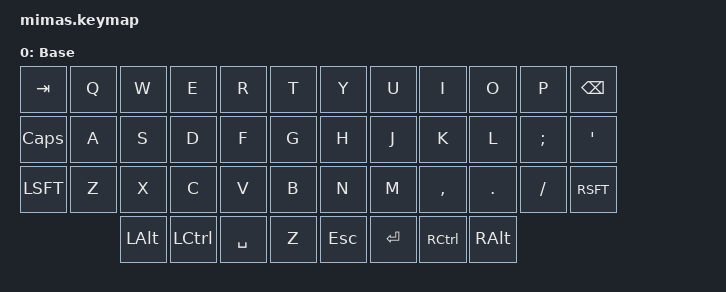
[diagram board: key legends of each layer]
#include <behaviors.dtsi>
#include <dt-bindings/zmk/keys.h>
#include <dt-bindings/zmk/bt.h>
#include <dt-bindings/zmk/outputs.h>

/ {
     
        keymap {
                compatible = "zmk,keymap";

                default_layer {
// ┏━━━━━━━━━━━━━━━━━━━━━━━━━━━━━━━━━━━━━━━┓
display-name = "Base"                      ;
// ┗━━━━━━━━━━━━━━━━━━━━━━━━━━━━━━━━━━━━━━━┛
// ┏━━━━━━━━━━━┳━━━━━━━━━━━┳━━━━━━━━━━━┳━━━━━━━━━━━┳━━━━━━━━━━━┳━━━━━━━━━━━┓   ┏━━━━━━━━━━━┳━━━━━━━━━━━┳━━━━━━━━━━━┳━━━━━━━━━━━┳━━━━━━━━━━━┳━━━━━━━━━━━┓
// ┃    TAB    ┃     Q     ┃     W     ┃     E     ┃     R     ┃     T     ┃   ┃     Y     ┃     U     ┃     I     ┃     O     ┃     P     ┃    BSPC   ┃
// ┣━━━━━━━━━━━┣━━━━━━━━━━━┣━━━━━━━━━━━┣━━━━━━━━━━━╋━━━━━━━━━━━╋━━━━━━━━━━━┫   ┣━━━━━━━━━━━╋━━━━━━━━━━━╋━━━━━━━━━━━╋━━━━━━━━━━━┻━━━━━━━━━━━┻━━━━━━━━━━━┃
// ┃    CAPS   ┃     A     ┃     S     ┃     D     ┃     F     ┃     G     ┃   ┃     H     ┃     J     ┃     K     ┃     L     ┃     ;     ┃     '     ┃
// ┣━━━━━━━━━━━┣━━━━━━━━━━━┣━━━━━━━━━━━┣━━━━━━━━━━━╋━━━━━━━━━━━╋━━━━━━━━━━━┫   ┣━━━━━━━━━━━╋━━━━━━━━━━━╋━━━━━━━━━━━╋━━━━━━━━━━━┻━━━━━━━━━━━┻━━━━━━━━━━━┛
// ┃   LSHFT   ┃     Z     ┃     X     ┃     C     ┃     V     ┃     B     ┃   ┃     N     ┃     M     ┃     ,     ┃     .     ┃     /     ┃   RSHFT   ┃
// ┗━━━━━━━━━━━┣━━━━━━━━━━━╋━━━━━━━━━━━┣━━━━━━━━━━━╋━━━━━━━━━━━╋━━━━━━━━━━━┫   ┣━━━━━━━━━━━╋━━━━━━━━━━━╋━━━━━━━━━━━╋━━━━━━━━━━━╋━━━━━━━━━━━┻━━━━━━━━━━━┛
//                         ┃   LCTRL   ┃    LALT   ┃   SPACE   ┃    MUTE   ┃   ┃    ESC    ┃   ENTER   ┃    RALT   ┃   RCTRL   ┃
//                         ┗━━━━━━━━━━━┻━━━━━━━━━━━┻━━━━━━━━━━━┻━━━━━━━━━━━┛   ┗━━━━━━━━━━━┻━━━━━━━━━━━┻━━━━━━━━━━━┻━━━━━━━━━━━┛
 bindings = <
// ╷           ╷           ╷           ╷           ╷           ╷           ╷   ╷           ╷           ╷           ╷           ╷           ╷           ╷

    &kp TAB     &kp Q       &kp W       &kp E       &kp R       &kp T           &kp Y       &kp U       &kp I       &kp O       &kp P       &kp BSPC
    &kp CAPS    &kp A       &kp S       &kp D       &kp F       &kp G           &kp H       &kp J       &kp K       &kp L       &kp SEMI    &kp SQT
    &kp LSFT    &kp Z       &kp X       &kp C       &kp V       &kp B           &kp N       &kp M       &kp COMMA   &kp DOT     &kp SLASH   &kp RSFT
                            &kp LALT    &kp LCTRL   &kp SPACE   &kp Z      &kp ESC     &kp ENTER   &kp RCTRL   &kp RALT   
                        >;
                };
        };
};
